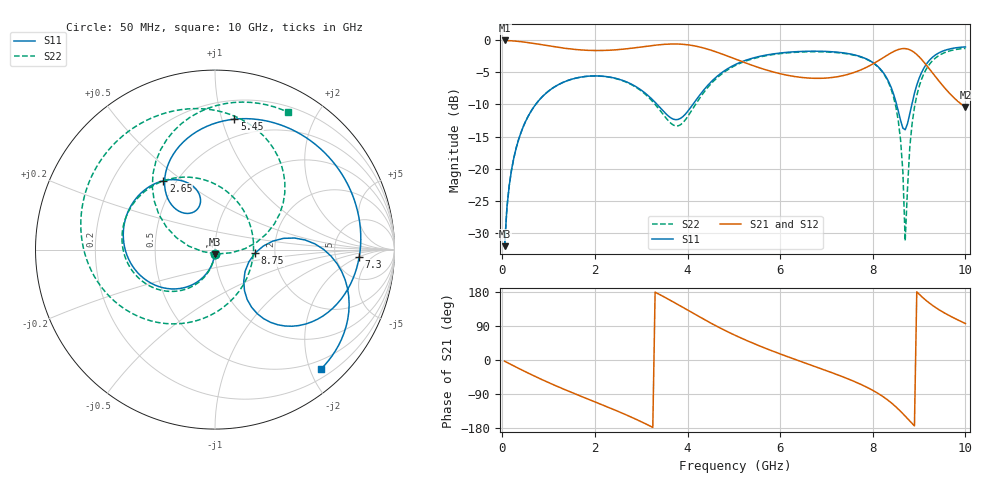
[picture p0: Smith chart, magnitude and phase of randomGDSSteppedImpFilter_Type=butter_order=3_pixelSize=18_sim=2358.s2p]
! freq	dB(S11)	phase(S11)	dB(S12)	phase(S12)
!  dB(S21)	phase(S21)	dB(S22)	phase(S22)
!S-par simulation data
#  GHz  S  DB  R 50
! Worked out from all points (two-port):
!   200 points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, 50 MHz to 10 GHz, reference 50 ohm
!   highest |S21| = -0.01 dB at 50 MHz (marker M1); lowest = -10.4 dB at 10 GHz (marker M2)
!   |S21| within 3 dB of the highest: start of sweep to 5.067 GHz; 8.157 GHz to 9.059 GHz (902.2 MHz wide, 10.5 % of centre)
!   lowest |S11| = -32.1 dB at 50 MHz (marker M3), VSWR 1.05, Z = 49.8 - j2.46 ohm
!   |S11| at or under -10 dB: start of sweep to 720.6 MHz; 3.344 GHz to 4.115 GHz (771.5 MHz wide, 20.7 % of centre); 8.514 GHz to 8.842 GHz (327.4 MHz wide, 3.77 % of centre)
!   |S22| runs from -32.1 to -1.2 dB; largest |S21 - S12| = 0
!   S11 on the Smith chart (normalised r, x): 50 MHz: 1.00, -0.05; 2.65 GHz: 0.43, +0.42; 5.45 GHz: 0.35, +1.10; 7.3 GHz: 8.80, -1.97; 8.75 GHz: 1.57, -0.07; 10 GHz: 0.34, -2.17
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0.05  -32.12 -93.3  -0.01 -3.2  -0.01 -3.2  -32.12 -93.1
0.2  -20.19 -103.5  -0.06 -12.6  -0.06 -12.6  -20.19 -102.5
0.5  -12.69 -122.7  -0.28 -31.0  -0.28 -31.0  -12.69 -120.4
1.05  -7.63 -155.1  -0.91 -62.4  -0.91 -62.4  -7.63 -150.7
1.75  -5.67 168.6  -1.51 -98.1  -1.51 -98.1  -5.67 174.3
2.65  -6.38 126.9  -1.34 -143.4  -1.34 -143.4  -6.43 126.2
3.4  -10.44 105.8  -0.67 172.6  -0.67 172.6  -10.87 61.3
3.8  -12.33 121.8  -0.57 145.8  -0.57 145.8  -13.33 -11.3
4.25  -8.66 133.6  -1.01 114.4  -1.01 114.4  -9.14 -89.0
5.05  -3.70 101.3  -2.96 63.9  -2.96 63.9  -3.84 -155.9
5.45  -2.68 81.5  -4.03 42.4  -4.03 42.4  -2.79 -178.2
6.7  -1.68 23.9  -5.91 -15.0  -5.91 -15.0  -1.76 126.6
7.3  -1.89 -2.8  -5.58 -41.8  -5.58 -41.8  -1.96 101.0
7.85  -2.85 -29.0  -4.25 -70.6  -4.25 -70.6  -2.89 72.7
8.35  -6.55 -54.9  -2.14 -108.1  -2.14 -108.1  -6.75 34.3
8.6  -12.48 -47.7  -1.33 -135.4  -1.33 -135.4  -15.53 1.8
8.7  -13.95 -19.8  -1.28 -148.0  -1.28 -148.0  -31.32 -64.2
8.75  -13.00 -5.0  -1.34 -154.5  -1.34 -154.5  -23.13 -171.0
8.85  -9.72 8.4  -1.65 -167.6  -1.65 -167.6  -12.94 162.8
9.1  -4.36 0.1  -3.34 162.5  -3.34 162.5  -5.25 129.2
9.5  -1.70 -25.0  -6.97 127.5  -6.97 127.5  -2.08 93.0
10  -1.01 -48.5  -10.39 96.2  -10.39 96.2  -1.24 62.0
